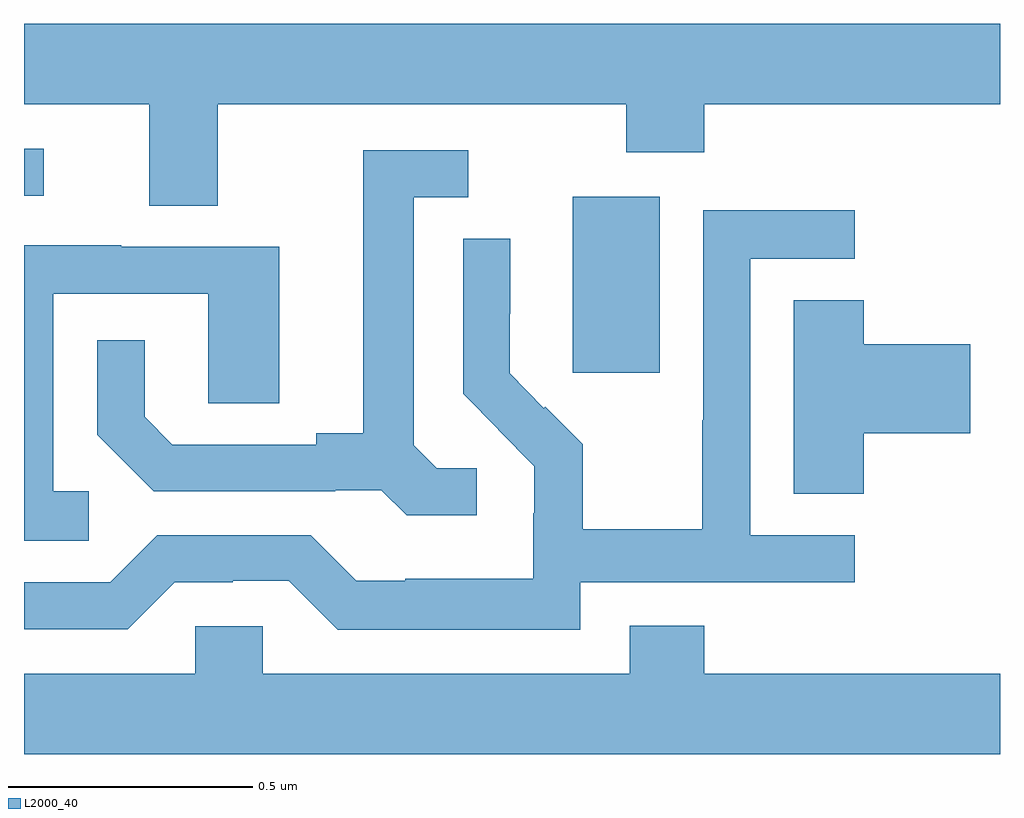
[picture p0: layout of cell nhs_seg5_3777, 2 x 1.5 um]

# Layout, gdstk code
import gdstk
lib = gdstk.Library(unit=1e-6, precision=1e-09)
def R(c, l, rs):  # rectangles x0, y0, x1, y1
    for r in rs: c.add(gdstk.rectangle(r[:2], r[2:], *l))
def P(c, l, *ps):  # polygons
    for p in ps: c.add(gdstk.Polygon(p, *l))
L2000_40 = (2000, 40)

nhs_seg5_3777 = lib.new_cell('nhs_seg5_3777')
R(nhs_seg5_3777, L2000_40, [(163.124,850.881,163.303,851.242), (162,851.244,162.04,851.34)])
P(nhs_seg5_3777, L2000_40, [(162.397,851.432),(163.234,851.432),(163.234,851.333),(163.394,851.333),(163.394,851.432),(164,851.432),(164,851.596),(162,851.596),(162,851.432),(162.257,851.432),(162.257,851.224),(162.397,851.224)],
  [(162.928,850.686),(162.846,850.686),(162.799,850.733),(162.799,851.241),(162.91,851.241),(162.91,851.337),(162.695,851.337),(162.695,850.757),(162.599,850.757),(162.599,850.734),(162.304,850.734),(162.247,850.791),(162.247,850.948),(162.15,850.948),(162.15,850.754),(162.266,850.638),(162.638,850.638),(162.638,850.641),(162.732,850.641),(162.784,850.589),(162.928,850.589)],
  [(163.14,850.452),(163.702,850.452),(163.702,850.548),(163.488,850.548),(163.488,851.115),(163.702,851.115),(163.702,851.214),(163.392,851.214),(163.392,850.784),(163.39,850.784),(163.39,850.561),(163.145,850.561),(163.145,850.735),(163.068,850.812),(163.065,850.809),(162.995,850.88),(162.995,851.002),(162.996,851.002),(162.996,851.156),(162.9,851.156),(162.9,850.838),(162.973,850.765),(162.972,850.764),(163.046,850.69),(163.046,850.593),(163.044,850.593),(163.044,850.459),(162.781,850.459),(162.781,850.455),(162.681,850.455),(162.588,850.548),(162.273,850.548),(162.177,850.452),(162,850.452),(162,850.356),(162.213,850.356),(162.309,850.452),(162.428,850.452),(162.428,850.455),(162.543,850.455),(162.643,850.355),(163.14,850.355)],
  [(162.133,850.638),(162.06,850.638),(162.06,851.043),(162.378,851.043),(162.378,850.819),(162.523,850.819),(162.523,851.139),(162.199,851.139),(162.199,851.143),(162,851.143),(162,850.537),(162.133,850.537)],
  [(163.721,850.757),(163.939,850.757),(163.939,850.94),(163.721,850.94),(163.721,851.03),(163.577,851.03),(163.577,850.633),(163.721,850.633)],
  [(164,850.264),(163.394,850.264),(163.394,850.363),(163.241,850.363),(163.241,850.264),(162.489,850.264),(162.489,850.362),(162.351,850.362),(162.351,850.264),(162,850.264),(162,850.1),(164,850.1)])

lib.write_gds('nhs_seg5_3777.gds')
